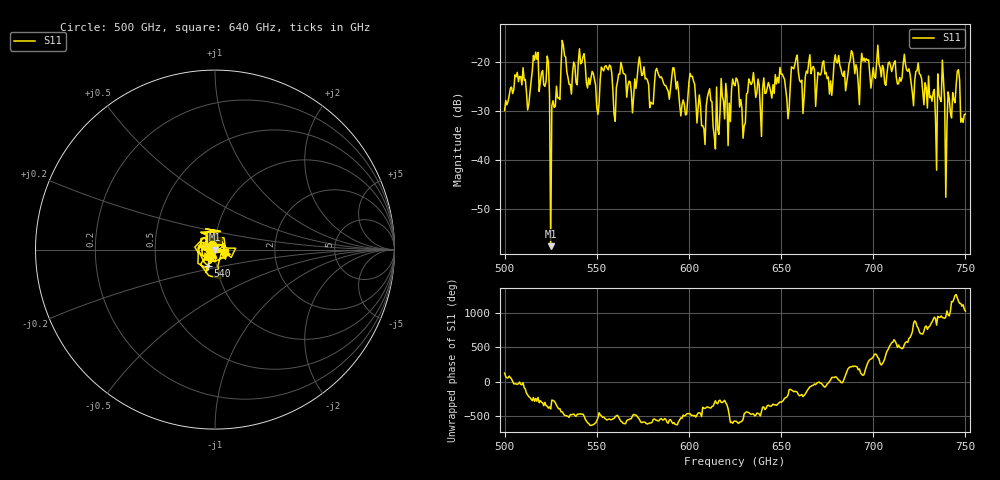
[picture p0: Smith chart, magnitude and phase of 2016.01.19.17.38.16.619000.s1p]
!Created with skrf (http://scikit-rf.org).
# GHz S RI R 50.0
!freq ReS11 ImS11
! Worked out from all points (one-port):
!   401 points, 500 GHz to 750 GHz, reference 50 ohm
!   lowest |S11| = -57.5 dB at 525 GHz (marker M1), VSWR 1.00, Z = 50.1 - j0.0827 ohm
!   |S11| at or under -10 dB: start of sweep to end of sweep
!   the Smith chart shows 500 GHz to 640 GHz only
!   S11 on the Smith chart (normalised r, x): 500 GHz: 0.96, +0.05; 540 GHz: 0.91, -0.17; 640 GHz: 1.11, -0.03
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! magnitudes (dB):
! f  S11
! 500 GHz  -29.9
! 506.9 GHz  -22.1
! 513.1 GHz  -28.6
! 516.9 GHz  -18.0
! 523.1 GHz  -18.7
! 525 GHz  -57.5
! 531.2 GHz  -15.6
! 540 GHz  -19.9
! 550 GHz  -29.2
! 562.5 GHz  -22.4
! 593.8 GHz  -23.9
! 601.9 GHz  -22.9
! 607.5 GHz  -32.9
! 611.2 GHz  -25.4
! 615 GHz  -25.1
! 625 GHz  -24.8
! 629.4 GHz  -35.5
! 633.8 GHz  -24.6
! 640 GHz  -25.2
! 653.8 GHz  -31.5
! 656.2 GHz  -21.1
! 687.5 GHz  -19.6
! 718.8 GHz  -21.9
! 733.1 GHz  -25.6
! 737.5 GHz  -19.6
! 740.6 GHz  -26.1
! 745.6 GHz  -21.8
! 750 GHz  -30.6
